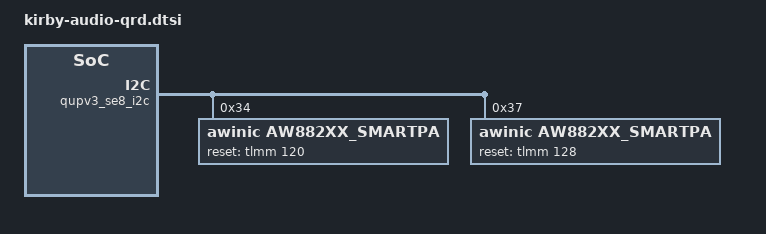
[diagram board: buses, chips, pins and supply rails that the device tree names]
#include "pineapple-audio-qrd.dtsi"

&pineapple_snd {
	fsa4480-sub-i2c-handle = <&fsa4480_sub>;
	fsa4480-i2c-handle = <&fsa4480>;
	qcom,sec-mi2s-gpios = <&cdc_sec_tdm_gpios>;
	qcom,tdm-audio-intf = <1>;
	qcom,mi2s-tdm-is-hw-vote-needed = <1 0 1 0 0 1 0>;
	qcom,audio-routing =
		"AMIC1", "Analog Mic1",
		"AMIC1", "MIC BIAS1",
		"AMIC2", "Analog Mic2",
		"AMIC2", "MIC BIAS2",
		"AMIC3", "Analog Mic3",
		"AMIC3", "MIC BIAS3",
		"AMIC4", "Analog Mic4",
		"AMIC4", "MIC BIAS4",
		"AMIC5", "Analog Mic5",
		"AMIC5", "MIC BIAS4",
		"VA AMIC1", "Analog Mic1",
		"VA AMIC1", "VA MIC BIAS1",
		"VA AMIC2", "Analog Mic2",
		"VA AMIC2", "VA MIC BIAS2",
		"VA AMIC3", "Analog Mic3",
		"VA AMIC3", "VA MIC BIAS3",
		"VA AMIC4", "Analog Mic4",
		"VA AMIC4", "VA MIC BIAS3",
		"VA AMIC5", "Analog Mic5",
		"VA AMIC5", "VA MIC BIAS4",
		"IN1_HPHL", "HPHL_OUT",
		"IN2_HPHR", "HPHR_OUT",
		"IN3_EAR", "AUX_OUT",
		"RX_TX DEC0_INP", "TX DEC0 MUX",
		"RX_TX DEC1_INP", "TX DEC1 MUX",
		"RX_TX DEC2_INP", "TX DEC2 MUX",
		"RX_TX DEC3_INP", "TX DEC3 MUX",
		"TX SWR_INPUT", "WCD_TX_OUTPUT",
		"VA SWR_INPUT", "VA_SWR_CLK",
		"VA SWR_INPUT", "WCD_TX_OUTPUT",
		"VA_AIF1 CAP", "VA_SWR_CLK",
		"VA_AIF2 CAP", "VA_SWR_CLK",
		"VA_AIF3 CAP", "VA_SWR_CLK";
};

&qupv3_se8_i2c {
	status = "okay";

	aw882xx_smartpa@34 {
		compatible = "awinic,aw882xx_smartpa";
		reg = <0x34>;
		reset-gpio = <&tlmm 120 0>;
		one_rst_flag = <1>;
		sync-load = <1>;
		sound-channel = <0>;
		rename-flag = <1>;
		aw-re-min = <4000>;
		aw-re-max = <30000>;
		aw-cali-mode = "none";
		status = "okay";
	};

	aw882xx_smartpa@37 {
		compatible = "awinic,aw882xx_smartpa";
		reg = <0x37>;
		reset-gpio = <&tlmm 128 0>;
		one_rst_flag = <2>;
		sync-load = <1>;
		sound-channel = <1>;
		rename-flag = <1>;
		aw-re-min = <4000>;
		aw-re-max = <30000>;
		aw-cali-mode = "none";
		status = "okay";
	};
};

